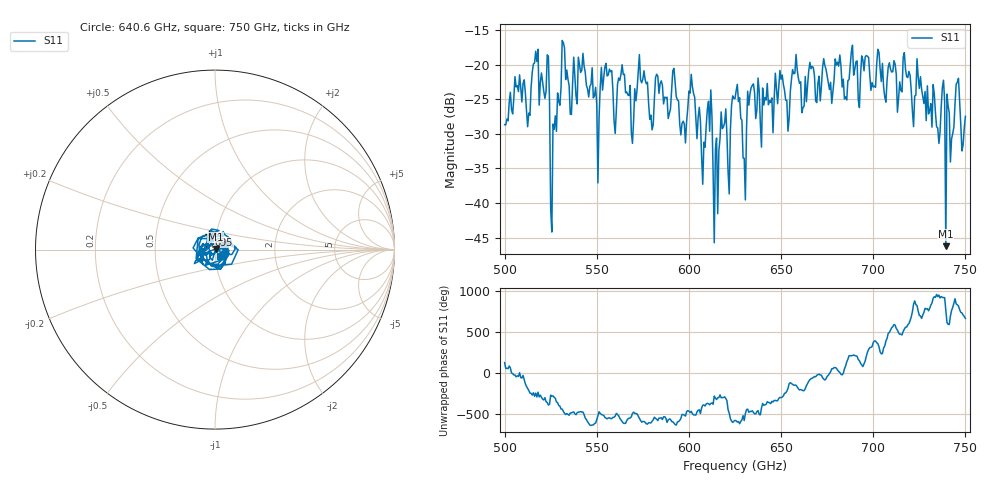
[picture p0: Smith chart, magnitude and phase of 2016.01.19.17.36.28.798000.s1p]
!Created with skrf (http://scikit-rf.org).
# GHz S RI R 50.0
!freq ReS11 ImS11
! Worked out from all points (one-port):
!   401 points, 500 GHz to 750 GHz, reference 50 ohm
!   lowest |S11| = -46.2 dB at 739.4 GHz (marker M1), VSWR 1.01, Z = 50.3 + j0.375 ohm
!   |S11| at or under -10 dB: start of sweep to end of sweep
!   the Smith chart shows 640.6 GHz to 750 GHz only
!   S11 on the Smith chart (normalised r, x): 640.6 GHz: 1.09, -0.06; 695 GHz: 0.92, +0.16; 750 GHz: 1.05, -0.07
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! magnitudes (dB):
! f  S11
! 500 GHz  -28.7
! 506.9 GHz  -23.0
! 513.1 GHz  -27.0
! 516.9 GHz  -18.0
! 523.1 GHz  -18.6
! 526.2 GHz  -28.6
! 531.2 GHz  -16.5
! 550 GHz  -25.7
! 562.5 GHz  -22.3
! 570 GHz  -28.0
! 573.8 GHz  -22.2
! 579.4 GHz  -27.3
! 593.8 GHz  -25.1
! 601.9 GHz  -23.1
! 608.1 GHz  -31.2
! 611.2 GHz  -29.6
! 614.4 GHz  -32.2
! 625 GHz  -24.9
! 630 GHz  -33.5
! 633.1 GHz  -24.2
! 640.6 GHz  -25.8
! 656.2 GHz  -20.7
! 687.5 GHz  -20.1
! 695 GHz  -20.9
! 718.8 GHz  -21.8
! 739.4 GHz  -46.2
! 745.6 GHz  -22.5
! 750 GHz  -27.5
